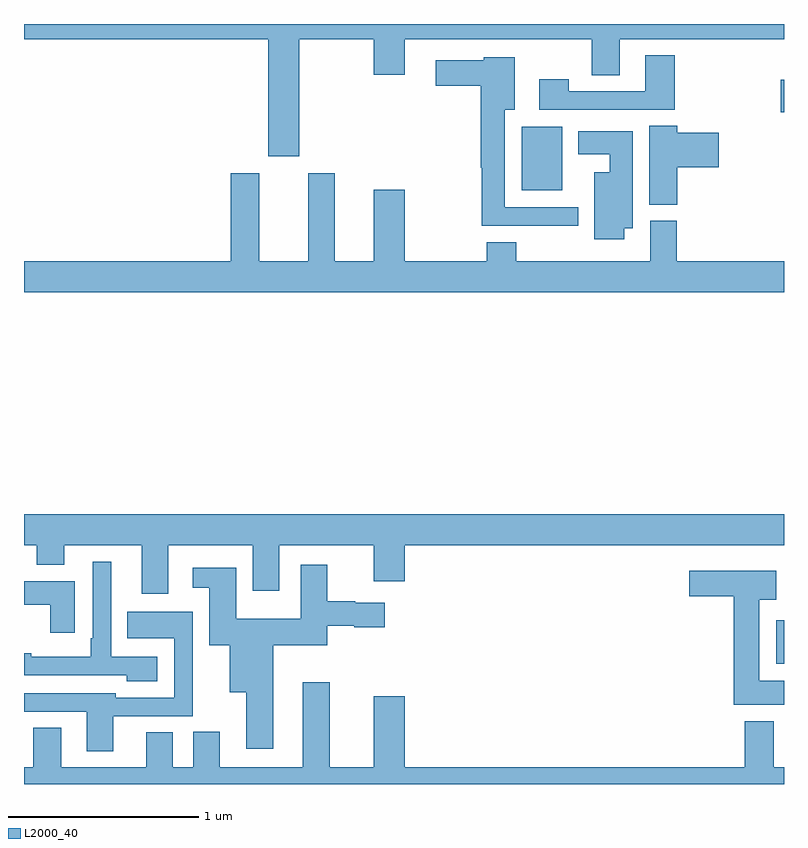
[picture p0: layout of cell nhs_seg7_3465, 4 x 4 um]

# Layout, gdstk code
import gdstk
lib = gdstk.Library(unit=1e-6, precision=1e-09)
def R(c, l, rs):  # rectangles x0, y0, x1, y1
    for r in rs: c.add(gdstk.rectangle(r[:2], r[2:], *l))
def P(c, l, *ps):  # polygons
    for p in ps: c.add(gdstk.Polygon(p, *l))
L2000_40 = (2000, 40)

nhs_seg7_3465 = lib.new_cell('nhs_seg7_3465')
R(nhs_seg7_3465, L2000_40, [(334.958,1026.632,335,1026.862), (333.62,1029.125,333.832,1029.46), (334.983,1029.536,335,1029.706)])
P(nhs_seg7_3465, L2000_40, [(332.449,1029.92),(332.84,1029.92),(332.84,1029.732),(333.004,1029.732),(333.004,1029.92),(333.988,1029.92),(333.988,1029.73),(334.135,1029.73),(334.135,1029.92),(335,1029.92),(335,1030),(331,1030),(331,1029.92),(332.285,1029.92),(332.285,1029.305),(332.449,1029.305)],
  [(334.424,1029.835),(334.271,1029.835),(334.271,1029.645),(333.867,1029.645),(333.867,1029.709),(333.711,1029.709),(333.711,1029.549),(334.424,1029.549)],
  [(333.916,1029.036),(333.529,1029.036),(333.529,1029.548),(333.583,1029.548),(333.583,1029.826),(333.42,1029.826),(333.42,1029.808),(333.168,1029.808),(333.168,1029.674),(333.404,1029.674),(333.404,1029.243),(333.409,1029.243),(333.409,1028.939),(333.916,1028.939)],
  [(334.439,1029.245),(334.657,1029.245),(334.657,1029.428),(334.439,1029.428),(334.439,1029.464),(334.292,1029.464),(334.292,1029.049),(334.439,1029.049)],
  [(334.159,1028.924),(334.204,1028.924),(334.204,1029.436),(333.917,1029.436),(333.917,1029.314),(334.082,1029.314),(334.082,1029.22),(334.001,1029.22),(334.001,1028.868),(334.159,1028.868)],
  [(335,1028.752),(334.436,1028.752),(334.436,1028.964),(334.295,1028.964),(334.295,1028.752),(333.591,1028.752),(333.591,1028.851),(333.436,1028.851),(333.436,1028.752),(333.004,1028.752),(333.004,1029.127),(332.84,1029.127),(332.84,1028.752),(332.635,1028.752),(332.635,1029.214),(332.495,1029.214),(332.495,1028.752),(332.239,1028.752),(332.239,1029.214),(332.087,1029.214),(332.087,1028.752),(331,1028.752),(331,1028.588),(335,1028.588)],
  [(331.759,1027.256),(332.204,1027.256),(332.204,1027.017),(332.344,1027.017),(332.344,1027.256),(332.84,1027.256),(332.84,1027.068),(333.004,1027.068),(333.004,1027.256),(335,1027.256),(335,1027.42),(331,1027.42),(331,1027.256),(331.066,1027.256),(331.066,1027.154),(331.213,1027.154),(331.213,1027.256),(331.619,1027.256),(331.619,1027.002),(331.759,1027.002)],
  [(331.702,1026.669),(331.458,1026.669),(331.458,1027.171),(331.362,1027.171),(331.362,1026.766),(331.35,1026.766),(331.35,1026.669),(331.038,1026.669),(331.038,1026.688),(331,1026.688),(331,1026.573),(331.541,1026.573),(331.541,1026.542),(331.702,1026.542)],
  [(332.311,1026.731),(332.596,1026.731),(332.596,1026.833),(332.739,1026.833),(332.739,1026.826),(332.899,1026.826),(332.899,1026.955),(332.744,1026.955),(332.744,1026.963),(332.596,1026.963),(332.596,1027.153),(332.456,1027.153),(332.456,1026.871),(332.116,1026.871),(332.116,1027.138),(331.887,1027.138),(331.887,1027.034),(331.976,1027.034),(331.976,1026.731),(332.084,1026.731),(332.084,1026.482),(332.171,1026.482),(332.171,1026.186),(332.311,1026.186)],
  [(335,1026.544),(334.87,1026.544),(334.87,1026.971),(334.96,1026.971),(334.96,1027.123),(334.5,1027.123),(334.5,1026.989),(334.736,1026.989),(334.736,1026.416),(335,1026.416)],
  [(331.267,1027.066),(331,1027.066),(331,1026.944),(331.138,1026.944),(331.138,1026.795),(331.267,1026.795)],
  [(331.471,1026.357),(331.889,1026.357),(331.889,1026.907),(331.543,1026.907),(331.543,1026.767),(331.791,1026.767),(331.791,1026.453),(331.482,1026.453),(331.482,1026.477),(331,1026.477),(331,1026.381),(331.331,1026.381),(331.331,1026.173),(331.471,1026.173)],
  [(335,1026.088),(334.945,1026.088),(334.945,1026.331),(334.793,1026.331),(334.793,1026.088),(333.004,1026.088),(333.004,1026.463),(332.84,1026.463),(332.84,1026.088),(332.608,1026.088),(332.608,1026.535),(332.468,1026.535),(332.468,1026.088),(332.029,1026.088),(332.029,1026.276),(331.89,1026.276),(331.89,1026.088),(331.783,1026.088),(331.783,1026.272),(331.643,1026.272),(331.643,1026.088),(331.195,1026.088),(331.195,1026.295),(331.048,1026.295),(331.048,1026.088),(331,1026.088),(331,1026),(335,1026)])

lib.write_gds('nhs_seg7_3465.gds')
